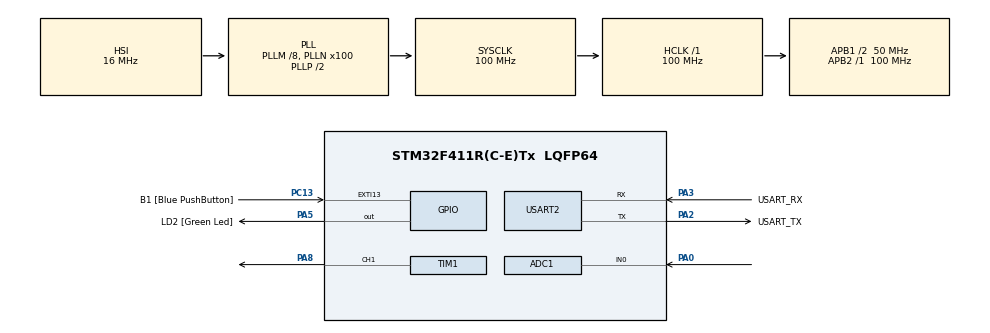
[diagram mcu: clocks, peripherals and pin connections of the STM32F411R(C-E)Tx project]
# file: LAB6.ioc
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Mcu.Family=STM32F4
RCC.CortexFreq_Value=100000000
PA14.GPIO_Label=TCK
TIM1.Pulse-PWM\ Generation1\ CH1=5000
RCC.SYSCLKSource=RCC_SYSCLKSOURCE_PLLCLK
ProjectManager.StackSize=0x400
NVIC.ADC_IRQn=true\:0\:0\:false\:false\:true\:true\:true
TIM1.Prescaler=0
PH0\ -\ OSC_IN.Signal=RCC_OSC_IN
RCC.HCLKFreq_Value=100000000
RCC.APB2TimFreq_Value=100000000
TIM3.Period=1000
RCC.AHBFreq_Value=100000000
NVIC.TIM1_TRG_COM_TIM11_IRQn=true\:0\:0\:false\:false\:true\:true\:true
RCC.HSE_VALUE=8000000
PC13-ANTI_TAMP.Signal=GPXTI13
PC14-OSC32_IN.Mode=LSE-External-Oscillator
TIM1.Channel-PWM\ Generation1\ CH1=TIM_CHANNEL_1
PA14.Mode=Serial_Wire
TIM3.Prescaler=99
PA8.Signal=S_TIM1_CH1
SH.ADCx_IN0.0=ADC1_IN0,IN0
VP_TIM1_VS_ClockSourceINT.Mode=Internal
RCC.FLatency-AdvancedSettings=FLASH_LATENCY_3
Mcu.Package=LQFP64
USART2.VirtualMode=VM_ASYNC
PA2.GPIO_Label=USART_TX
RCC.APB1TimFreq_Value=100000000
TIM1.Period=10000
VP_TIM3_VS_ClockSourceINT.Mode=Internal
PA3.Signal=USART2_RX
PB3.GPIO_Label=SWO
PC15-OSC32_OUT.Mode=LSE-External-Oscillator
PC13-ANTI_TAMP.GPIO_Label=B1 [Blue PushButton]
PH1\ -\ OSC_OUT.Mode=HSE-External-Clock-Source
TIM11.Prescaler=99
RCC.APB1CLKDivider=RCC_HCLK_DIV2
PC14-OSC32_IN.Signal=RCC_OSC32_IN
PA0-WKUP.Signal=ADCx_IN0
VP_TIM11_VS_ClockSourceINT.Mode=Enable_Timer
PA13.Signal=SYS_JTMS-SWDIO
PA3.Mode=Asynchronous
PH0\ -\ OSC_IN.Mode=HSE-External-Clock-Source
SH.S_TIM1_CH1.0=TIM1_CH1,PWM Generation1 CH1
ProjectManager.TargetToolchain=STM32CubeIDE
ADC1.Channel-1\#ChannelRegularConversion=ADC_CHANNEL_0
PC15-OSC32_OUT.Signal=RCC_OSC32_OUT
PA5.Signal=GPIO_Output
PH1\ -\ OSC_OUT.Signal=RCC_OSC_OUT
board=NUCLEO-F411RE
RCC.VCOOutputFreq_Value=200000000
RCC.APB2Freq_Value=100000000
ADC1.NbrOfConversion=1
PA13.Mode=Serial_Wire
Mcu.Name=STM32F411R(C-E)Tx
PA13.GPIO_Label=TMS
PA2.Signal=USART2_TX
ADC1.ExternalTrigConv=ADC_EXTERNALTRIGCONV_T3_TRGO
RCC.48MHZClocksFreq_Value=50000000
PB3.Signal=SYS_JTDO-SWO
ADC1.SamplingTime-1\#ChannelRegularConversion=ADC_SAMPLETIME_480CYCLES
RCC.SYSCLKFreq_VALUE=100000000
ADC1.master=1
PA5.GPIO_Label=LD2 [Green Led]
ADC1.Rank-1\#ChannelRegularConversion=1
PC13-ANTI_TAMP.GPIO_ModeDefaultEXTI=GPIO_MODE_IT_FALLING
PA14.Signal=SYS_JTCK-SWCLK
ProjectManager.HeapSize=0x200
RCC.HSI_VALUE=16000000
NVIC.PriorityGroup=NVIC_PRIORITYGROUP_0
ADC1.NbrOfConversionFlag=1
RCC.PLLM=8
RCC.PLLN=100
PA2.Mode=Asynchronous
TIM3.TIM_MasterOutputTrigger=TIM_TRGO_UPDATE
RCC.APB1Freq_Value=50000000
PA3.GPIO_Label=USART_RX

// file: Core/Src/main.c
/* USER CODE BEGIN Header */
/**
  ******************************************************************************
  * @file           : main.c
  * @brief          : Main program body
  ******************************************************************************
  * @attention
  *
  * <h2><center>&copy; Copyright (c) 2021 STMicroelectronics.
  * All rights reserved.</center></h2>
  *
  * This software component is licensed by ST under BSD 3-Clause license,
  * the "License"; You may not use this file except in compliance with the
  * License. You may obtain a copy of the License at:
  *                        opensource.org/licenses/BSD-3-Clause
  *
  ******************************************************************************
  */
/* USER CODE END Header */
#include "main.h"

ADC_HandleTypeDef hadc1;

TIM_HandleTypeDef htim1;
TIM_HandleTypeDef htim3;
TIM_HandleTypeDef htim11;

UART_HandleTypeDef huart2;

/* USER CODE BEGIN PV */

uint8_t ADCUpdateFlag = 0;
uint16_t ADCFeedBack = 0;
float mvADCFeedBack;

float PWMOut = 3000;
float CalPWMOut;
float FeedBackError;
float PWMOutError;
float PWMOutChange;
float Kp = 0.3;

uint64_t _micro = 0;
uint64_t TimeOutputLoop = 0;
/* USER CODE END PV */

void SystemClock_Config(void);
static void MX_GPIO_Init(void);
static void MX_USART2_UART_Init(void);
static void MX_ADC1_Init(void);
static void MX_TIM1_Init(void);
static void MX_TIM3_Init(void);
static void MX_TIM11_Init(void);
/* USER CODE BEGIN PFP */
uint64_t micros();
/* USER CODE END PFP */

int main(void)
{

  /* MCU Configuration--------------------------------------------------------*/

  /* Reset of all peripherals, Initializes the Flash interface and the Systick. */
  HAL_Init();

  /* Configure the system clock */
  SystemClock_Config();

  /* Initialize all configured peripherals */
  MX_GPIO_Init();
  MX_USART2_UART_Init();
  MX_ADC1_Init();
  MX_TIM1_Init();
  MX_TIM3_Init();
  MX_TIM11_Init();
  /* USER CODE BEGIN 2 */
  HAL_ADC_Start_IT(&hadc1);
  HAL_TIM_Base_Start(&htim3);

  HAL_TIM_Base_Start(&htim1);
  HAL_TIM_PWM_Start(&htim1, TIM_CHANNEL_1);

  HAL_TIM_Base_Start_IT(&htim11);

  /* USER CODE END 2 */

  /* Infinite loop */
  while (1)
  {

    /* USER CODE BEGIN 3 */

	  //1 Khz Loop
	  if (micros() - TimeOutputLoop > 1000)
	  {
	  	TimeOutputLoop = micros();
	  	// #001
	  	/*CalPWMOut = 1241*PWMOut/ADCFeedBack;	//จากการใช้บัญญัติไตรยางค์เพื่อหาความสัมพันธ์ระหว่าง PWMOut & ADCFeedBack
	  											//โดย PWMOut -> FeedBackADC
	  											//แต่เราต้องการให้ PWMOut -> 1241 (1V)
	  											//แต่เพื่อป้องกันความสับสนจึงต้องสร้างตัวแปรใหม่ขึ้นมาใช้ในสมการคือ CalPWMOut
	  											//และกลายเป็น (CalPWMOut/PWMOut) = (1241/ADCFeedBack)
	  											//จากนั้นปรับสมการใหม่จึงได้เป็น CalPWMOut = (PWMOut*1241)/ADCFeedBack
	  	//กรณีเสริมเพราะหากค่า PWMOut ลดลงจนเป็น 0 จะทำให้ไม่สามารถคำนวณหา PWMOut ใหม่ต่อได้
	  	//และหากค่า PWMOut เกินกว่า 10000 อาจจะทำให้ค่าที่คำนวณหา PWMOut ใหม่ไม่ตรงได้
	  	if(CalPWMOut < 4000)	//จากการคำนวณค่าต่ำสุดที่เป็นไปได้คือ 4545
	  								//แต่ต้องเผื่อไว้เพราะค่าในความเป็นจริงอาจจะต่ำกว่าที่คำนวณไว้ก็ได้
	  	{
	  		CalPWMOut = 4000;
	  	}
	  	else if(CalPWMOut > 10000) //หากค่า PWMOut สูงกว่า 10000 ค่า ADCFeedBack ที่ออกมาจะไม่มีทางสูงไปกว่าของ PWMOut = 10000 แล้ว
	  	{
	  		CalPWMOut = 10000;
	  	}*/
	  	if(PWMOut > 10000)
	  	{
	  		PWMOut = 10000;
	  	}
	  	FeedBackError = 1241 - ADCFeedBack;
	  	PWMOutError = FeedBackError*PWMOut/ADCFeedBack;
	  	PWMOutChange = Kp*PWMOutError;
	  	CalPWMOut = PWMOut + PWMOutChange;

	  	PWMOut = CalPWMOut;
	  	__HAL_TIM_SET_COMPARE(&htim1, TIM_CHANNEL_1, PWMOut); //3.3V = 4095 so 1V = 1241
	  	mvADCFeedBack = (ADCFeedBack * 3300.0)/4096.0;

	  }

	  if (ADCUpdateFlag)
	  {
	  	ADCUpdateFlag = 0;
	  	//#002
	  }

  }
  /* USER CODE END 3 */
}

void SystemClock_Config(void)
{
  RCC_OscInitTypeDef RCC_OscInitStruct = {0};
  RCC_ClkInitTypeDef RCC_ClkInitStruct = {0};

  /** Configure the main internal regulator output voltage
  */
  __HAL_RCC_PWR_CLK_ENABLE();
  __HAL_PWR_VOLTAGESCALING_CONFIG(PWR_REGULATOR_VOLTAGE_SCALE1);
  /** Initializes the RCC Oscillators according to the specified parameters
  * in the RCC_OscInitTypeDef structure.
  */
  RCC_OscInitStruct.OscillatorType = RCC_OSCILLATORTYPE_HSI;
  RCC_OscInitStruct.HSIState = RCC_HSI_ON;
  RCC_OscInitStruct.HSICalibrationValue = RCC_HSICALIBRATION_DEFAULT;
  RCC_OscInitStruct.PLL.PLLState = RCC_PLL_ON;
  RCC_OscInitStruct.PLL.PLLSource = RCC_PLLSOURCE_HSI;
  RCC_OscInitStruct.PLL.PLLM = 8;
  RCC_OscInitStruct.PLL.PLLN = 100;
  RCC_OscInitStruct.PLL.PLLP = RCC_PLLP_DIV2;
  RCC_OscInitStruct.PLL.PLLQ = 4;
  if (HAL_RCC_OscConfig(&RCC_OscInitStruct) != HAL_OK)
  {
    Error_Handler();
  }
  /** Initializes the CPU, AHB and APB buses clocks
  */
  RCC_ClkInitStruct.ClockType = RCC_CLOCKTYPE_HCLK|RCC_CLOCKTYPE_SYSCLK
                              |RCC_CLOCKTYPE_PCLK1|RCC_CLOCKTYPE_PCLK2;
  RCC_ClkInitStruct.SYSCLKSource = RCC_SYSCLKSOURCE_PLLCLK;
  RCC_ClkInitStruct.AHBCLKDivider = RCC_SYSCLK_DIV1;
  RCC_ClkInitStruct.APB1CLKDivider = RCC_HCLK_DIV2;
  RCC_ClkInitStruct.APB2CLKDivider = RCC_HCLK_DIV1;

  if (HAL_RCC_ClockConfig(&RCC_ClkInitStruct, FLASH_LATENCY_3) != HAL_OK)
  {
    Error_Handler();
  }
}

static void MX_ADC1_Init(void)
{

  ADC_ChannelConfTypeDef sConfig = {0};

  /** Configure the global features of the ADC (Clock, Resolution, Data Alignment and number of conversion)
  */
  hadc1.Instance = ADC1;
  hadc1.Init.ClockPrescaler = ADC_CLOCK_SYNC_PCLK_DIV4;
  hadc1.Init.Resolution = ADC_RESOLUTION_12B;
  hadc1.Init.ScanConvMode = DISABLE;
  hadc1.Init.ContinuousConvMode = DISABLE;
  hadc1.Init.DiscontinuousConvMode = DISABLE;
  hadc1.Init.ExternalTrigConvEdge = ADC_EXTERNALTRIGCONVEDGE_RISING;
  hadc1.Init.ExternalTrigConv = ADC_EXTERNALTRIGCONV_T3_TRGO;
  hadc1.Init.DataAlign = ADC_DATAALIGN_RIGHT;
  hadc1.Init.NbrOfConversion = 1;
  hadc1.Init.DMAContinuousRequests = DISABLE;
  hadc1.Init.EOCSelection = ADC_EOC_SINGLE_CONV;
  if (HAL_ADC_Init(&hadc1) != HAL_OK)
  {
    Error_Handler();
  }
  /** Configure for the selected ADC regular channel its corresponding rank in the sequencer and its sample time.
  */
  sConfig.Channel = ADC_CHANNEL_0;
  sConfig.Rank = 1;
  sConfig.SamplingTime = ADC_SAMPLETIME_480CYCLES;
  if (HAL_ADC_ConfigChannel(&hadc1, &sConfig) != HAL_OK)
  {
    Error_Handler();
  }

}

static void MX_TIM1_Init(void)
{

  TIM_ClockConfigTypeDef sClockSourceConfig = {0};
  TIM_MasterConfigTypeDef sMasterConfig = {0};
  TIM_OC_InitTypeDef sConfigOC = {0};
  TIM_BreakDeadTimeConfigTypeDef sBreakDeadTimeConfig = {0};

  htim1.Instance = TIM1;
  htim1.Init.Prescaler = 0;
  htim1.Init.CounterMode = TIM_COUNTERMODE_UP;
  htim1.Init.Period = 10000;
  htim1.Init.ClockDivision = TIM_CLOCKDIVISION_DIV1;
  htim1.Init.RepetitionCounter = 0;
  htim1.Init.AutoReloadPreload = TIM_AUTORELOAD_PRELOAD_DISABLE;
  if (HAL_TIM_Base_Init(&htim1) != HAL_OK)
  {
    Error_Handler();
  }
  sClockSourceConfig.ClockSource = TIM_CLOCKSOURCE_INTERNAL;
  if (HAL_TIM_ConfigClockSource(&htim1, &sClockSourceConfig) != HAL_OK)
  {
    Error_Handler();
  }
  if (HAL_TIM_PWM_Init(&htim1) != HAL_OK)
  {
    Error_Handler();
  }
  sMasterConfig.MasterOutputTrigger = TIM_TRGO_RESET;
  sMasterConfig.MasterSlaveMode = TIM_MASTERSLAVEMODE_DISABLE;
  if (HAL_TIMEx_MasterConfigSynchronization(&htim1, &sMasterConfig) != HAL_OK)
  {
    Error_Handler();
  }
  sConfigOC.OCMode = TIM_OCMODE_PWM1;
  sConfigOC.Pulse = 5000;
  sConfigOC.OCPolarity = TIM_OCPOLARITY_HIGH;
  sConfigOC.OCNPolarity = TIM_OCNPOLARITY_HIGH;
  sConfigOC.OCFastMode = TIM_OCFAST_DISABLE;
  sConfigOC.OCIdleState = TIM_OCIDLESTATE_RESET;
  sConfigOC.OCNIdleState = TIM_OCNIDLESTATE_RESET;
  if (HAL_TIM_PWM_ConfigChannel(&htim1, &sConfigOC, TIM_CHANNEL_1) != HAL_OK)
  {
    Error_Handler();
  }
  sBreakDeadTimeConfig.OffStateRunMode = TIM_OSSR_DISABLE;
  sBreakDeadTimeConfig.OffStateIDLEMode = TIM_OSSI_DISABLE;
  sBreakDeadTimeConfig.LockLevel = TIM_LOCKLEVEL_OFF;
  sBreakDeadTimeConfig.DeadTime = 0;
  sBreakDeadTimeConfig.BreakState = TIM_BREAK_DISABLE;
  sBreakDeadTimeConfig.BreakPolarity = TIM_BREAKPOLARITY_HIGH;
  sBreakDeadTimeConfig.AutomaticOutput = TIM_AUTOMATICOUTPUT_DISABLE;
  if (HAL_TIMEx_ConfigBreakDeadTime(&htim1, &sBreakDeadTimeConfig) != HAL_OK)
  {
    Error_Handler();
  }
  HAL_TIM_MspPostInit(&htim1);

}

static void MX_TIM3_Init(void)
{

  TIM_ClockConfigTypeDef sClockSourceConfig = {0};
  TIM_MasterConfigTypeDef sMasterConfig = {0};

  htim3.Instance = TIM3;
  htim3.Init.Prescaler = 99;
  htim3.Init.CounterMode = TIM_COUNTERMODE_UP;
  htim3.Init.Period = 1000;
  htim3.Init.ClockDivision = TIM_CLOCKDIVISION_DIV1;
  htim3.Init.AutoReloadPreload = TIM_AUTORELOAD_PRELOAD_DISABLE;
  if (HAL_TIM_Base_Init(&htim3) != HAL_OK)
  {
    Error_Handler();
  }
  sClockSourceConfig.ClockSource = TIM_CLOCKSOURCE_INTERNAL;
  if (HAL_TIM_ConfigClockSource(&htim3, &sClockSourceConfig) != HAL_OK)
  {
    Error_Handler();
  }
  sMasterConfig.MasterOutputTrigger = TIM_TRGO_UPDATE;
  sMasterConfig.MasterSlaveMode = TIM_MASTERSLAVEMODE_DISABLE;
  if (HAL_TIMEx_MasterConfigSynchronization(&htim3, &sMasterConfig) != HAL_OK)
  {
    Error_Handler();
  }

}

static void MX_TIM11_Init(void)
{

  htim11.Instance = TIM11;
  htim11.Init.Prescaler = 99;
  htim11.Init.CounterMode = TIM_COUNTERMODE_UP;
  htim11.Init.Period = 65535;
  htim11.Init.ClockDivision = TIM_CLOCKDIVISION_DIV1;
  htim11.Init.AutoReloadPreload = TIM_AUTORELOAD_PRELOAD_DISABLE;
  if (HAL_TIM_Base_Init(&htim11) != HAL_OK)
  {
    Error_Handler();
  }

}

static void MX_USART2_UART_Init(void)
{

  huart2.Instance = USART2;
  huart2.Init.BaudRate = 115200;
  huart2.Init.WordLength = UART_WORDLENGTH_8B;
  huart2.Init.StopBits = UART_STOPBITS_1;
  huart2.Init.Parity = UART_PARITY_NONE;
  huart2.Init.Mode = UART_MODE_TX_RX;
  huart2.Init.HwFlowCtl = UART_HWCONTROL_NONE;
  huart2.Init.OverSampling = UART_OVERSAMPLING_16;
  if (HAL_UART_Init(&huart2) != HAL_OK)
  {
    Error_Handler();
  }

}

static void MX_GPIO_Init(void)
{
  GPIO_InitTypeDef GPIO_InitStruct = {0};

  /* GPIO Ports Clock Enable */
  __HAL_RCC_GPIOC_CLK_ENABLE();
  __HAL_RCC_GPIOH_CLK_ENABLE();
  __HAL_RCC_GPIOA_CLK_ENABLE();
  __HAL_RCC_GPIOB_CLK_ENABLE();

  /*Configure GPIO pin Output Level */
  HAL_GPIO_WritePin(LD2_GPIO_Port, LD2_Pin, GPIO_PIN_RESET);

  /*Configure GPIO pin : B1_Pin */
  GPIO_InitStruct.Pin = B1_Pin;
  GPIO_InitStruct.Mode = GPIO_MODE_IT_FALLING;
  GPIO_InitStruct.Pull = GPIO_NOPULL;
  HAL_GPIO_Init(B1_GPIO_Port, &GPIO_InitStruct);

  /*Configure GPIO pin : LD2_Pin */
  GPIO_InitStruct.Pin = LD2_Pin;
  GPIO_InitStruct.Mode = GPIO_MODE_OUTPUT_PP;
  GPIO_InitStruct.Pull = GPIO_NOPULL;
  GPIO_InitStruct.Speed = GPIO_SPEED_FREQ_LOW;
  HAL_GPIO_Init(LD2_GPIO_Port, &GPIO_InitStruct);

}

/* USER CODE BEGIN 4 */

void HAL_ADC_ConvCpltCallback(ADC_HandleTypeDef *hadc)
{
	ADCFeedBack = HAL_ADC_GetValue(&hadc1);
	ADCUpdateFlag = 1;
}
void HAL_TIM_PeriodElapsedCallback(TIM_HandleTypeDef *htim)
{
	if (htim == &htim11)
	{
		_micro += 65535;
	}
}

__inline__ uint64_t micros()
{
	return _micro + htim11.Instance->CNT;
}
/* USER CODE END 4 */

void Error_Handler(void)
{
  __disable_irq();
  while (1)
  {
  }
}

/************************ (C) COPYRIGHT STMicroelectronics *****END OF FILE****/
